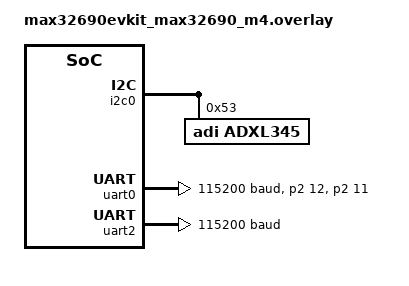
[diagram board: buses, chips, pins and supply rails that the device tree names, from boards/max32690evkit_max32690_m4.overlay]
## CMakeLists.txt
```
cmake_minimum_required(VERSION 3.20.0)

set(RENODE_SCRIPT ${CMAKE_CURRENT_LIST_DIR}/boards/stm32f746g_disco_lis2ds12.resc)

find_package(Zephyr REQUIRED HINTS $ENV{ZEPHYR_BASE})
project(app)
target_sources(app PRIVATE src/main.c)

add_subdirectory(${CMAKE_CURRENT_SOURCE_DIR}/../common/tvm ${CMAKE_CURRENT_BINARY_DIR}/tvm)
target_link_libraries(app PRIVATE tvm_model)
```

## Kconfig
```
# Copyright (c) 2025 Analog Devices, Inc.
# Copyright (c) 2025 Antmicro <www.antmicro.com>
#
# SPDX-License-Identifier: Apache-2.0

rsource "../common/tvm/Kconfig"

source "Kconfig.zephyr"
```

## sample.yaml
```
# Copyright (c) 2025 Analog Devices, Inc.
# Copyright (c) 2025 Antmicro <www.antmicro.com>
#
# SPDX-License-Identifier: Apache-2.0

sample:
  name: simple
common:
  tags: profiling
  platform_allow:
    - stm32f746g_disco
tests:
  sample.trace.demo.plaintext.robot:
    harness: robot
    harness_config:
      robot_testsuite: demo_plaintext.robot
  sample.trace.demo.ctf.robot:
    extra_configs:
      - CONFIG_ZPL_TRACE_FORMAT_CTF=y
      - CONFIG_BOOT_BANNER=n
      - CONFIG_PRINTK=n
    harness: robot
    harness_config:
      robot_testsuite: demo_ctf.robot
```

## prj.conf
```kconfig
CONFIG_ZPL=y
CONFIG_ZPL_TRACE=y
CONFIG_ZPL_TRACE_FULL_MODE=y
CONFIG_ZPL_TRACE_FORMAT_CTF=y

CONFIG_ZPL_TVM_EVENTS=y
CONFIG_ZPL_TVM_PROFILER=y

CONFIG_SYS_HEAP_ARRAY_SIZE=4
CONFIG_HEAP_MEM_POOL_SIZE=256
CONFIG_COMMON_LIBC_MALLOC=y
CONFIG_ZPL_MEMORY_PROFILING=y
CONFIG_ZPL_MEMORY_PROFILING_INTERVAL=100
CONFIG_ZPL_MEMORY_PROFILING_THREAD_PRIORITY=-1

CONFIG_CPU_LOAD=y
CONFIG_ZPL_CPU_LOAD_TRACE=y
CONFIG_ZPL_CPU_LOAD_PROFILING=y
CONFIG_ZPL_CPU_LOAD_PROFILING_INTERVAL=100
CONFIG_ZPL_CPU_LOAD_PROFILING_THREAD_PRIORITY=-1

CONFIG_TRACING_BUFFER_SIZE=4096
CONFIG_TRACING_SYNC=y
CONFIG_MAIN_STACK_SIZE=4096

CONFIG_I2C=y
CONFIG_SENSOR=y
CONFIG_I2C_STM32_INTERRUPT=n

CONFIG_TIMING_FUNCTIONS=y
CONFIG_TEST_RANDOM_GENERATOR=y
CONFIG_ZEPHYR_TVM_MODULE=y
CONFIG_ZEPHYR_DLPACK_MODULE=y
```

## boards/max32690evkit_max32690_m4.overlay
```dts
/ {
	chosen {
		zephyr,console = &uart2;
		zephyr,tracing-uart = &uart0;
	};
	aliases {
		accel = &adxl345;
	};
};

&i2c0 {
	adxl345: adxl345@53 {
		compatible = "adi,adxl345";
		reg = <0x53>;
		status = "okay";
		odr = <12>;
	};
	status = "okay";
};

&uart0 {
	status = "okay";
	pinctrl-0 = < &uart0a_tx_p2_12 &uart0a_rx_p2_11 >;
	pinctrl-names = "default";
	current-speed = < 115200 >;
	data-bits = < 0x8 >;
};

&uart2 {
	current-speed = < 115200 >;
};
```

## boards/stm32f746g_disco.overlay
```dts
/ {
	chosen {
		zephyr,console = &usart1;
		zephyr,tracing-uart = &usart6;
	};
	aliases {
		accel = &lis2ds12;
	};
};

&i2c1 {
    lis2ds12: lis2ds12@3d {
        compatible = "st,lis2ds12";
        reg = <0x3d>;
        status = "okay";
    };
    status = "okay";
};
```

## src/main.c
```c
/*
 * Copyright (c) 2025 Analog Devices, Inc.
 * Copyright (c) 2025 Antmicro <www.antmicro.com>
 *
 * SPDX-License-Identifier: Apache-2.0
 */

#include <zpl.h>

#include <math.h>
#include <zephyr/drivers/sensor.h>
#include <zephyr/kernel.h>
#include <zephyr/random/random.h>
#include <generated/model_data_graph.h>
#include <generated/model_data_params.h>
#include <tvm_model.h>

#define INPUT_SHAPE_0 128
#define INPUT_SHAPE_1 3

#define OUTPUT_SHAPE_0 1
#define OUTPUT_SHAPE_1 4

#define MOVEMENT_THRESHOLD 0.05f

K_SEM_DEFINE(run_inference, 0, 1);
K_MUTEX_DEFINE(data_buffer_mutex);
int sample_idx;
static float data_buffer[INPUT_SHAPE_0][INPUT_SHAPE_1];
const struct device *const accelerometer = DEVICE_DT_GET(DT_ALIAS(accel));

/**
 * Magic Wand dataset classes
 */
const char *class_names[OUTPUT_SHAPE_1] = {"wing", "ring", "slope", "negative"};

void read_input(float *model_input);

void read_accel_data(float *x, float *y, float *z);

void read_accel_data_fun(void);

int main(void)
{
	int status = 0;
	float __attribute((aligned(32))) model_input[INPUT_SHAPE_0][INPUT_SHAPE_1];
	float __attribute((aligned(32))) model_output[OUTPUT_SHAPE_0][OUTPUT_SHAPE_1];

	status = model_init();
	if (status) {
		printk("Model init failed %d\n", status);
		return 1;
	}

	status = model_load(model_data_graph, model_data_graph_len, model_data_params,
			    model_data_params_len, NULL, NULL, NULL);
	if (status) {
		printk("Model load failed %d\n", status);
		return 1;
	}

	for (;;) {
		if (k_sem_take(&run_inference, K_NO_WAIT) != 0) {
			k_msleep(10);
			continue;
		}

		read_input((float *)model_input);

		status = model_load_input((uint8_t *)model_input,
					  sizeof(float) * INPUT_SHAPE_0 * INPUT_SHAPE_1, NULL, false);
		if (status) {
			printk("Model load input failed %d\n", status);
			break;
		}

		status = model_run(NULL);
		if (status) {
			printk("Model run failed %d\n", status);
			break;
		}

		status = model_get_output((uint8_t *)model_output, NULL, false);
		if (status) {
			printk("Model get output failed %d\n", status);
			break;
		}
		printk("model output: ");
		for (int i = 0; i < OUTPUT_SHAPE_1; ++i) {
			int value_int = (int)(1000 * model_output[0][i]);
			printk("%s=%d.%03d ", class_names[i], value_int / 1000, value_int % 1000);
		}
		printk("\n");
	}

	return 0;
}

void read_input(float *model_input)
{
	if (k_mutex_lock(&data_buffer_mutex, K_FOREVER) == 0) {
		memcpy(model_input, &data_buffer[sample_idx][0],
		       (INPUT_SHAPE_0 - sample_idx) * sizeof(float) * INPUT_SHAPE_1);
		if (sample_idx > 0) {
			memcpy(&model_input[(INPUT_SHAPE_0 - sample_idx) * INPUT_SHAPE_1],
			       data_buffer, sample_idx * sizeof(float) * INPUT_SHAPE_1);
		}

		k_mutex_unlock(&data_buffer_mutex);
	}
}

void read_accel_data(float *x, float *y, float *z)
{
	struct sensor_value val[3];
	int32_t ret = 0;

	*x = 0.0f;
	*y = 0.0f;
	*z = 0.0f;

	do {
		if (!device_is_ready(accelerometer)) {
			printk("%s: not ready\n", accelerometer->name);
			break;
		}

		ret = sensor_sample_fetch(accelerometer);
		if (ret < 0 && ret != -EBADMSG) {
			printk("%s: failed to fetch sample\n", accelerometer->name);
			break;
		}

		ret = sensor_channel_get(accelerometer, SENSOR_CHAN_ACCEL_XYZ, val);
		if (ret < 0) {
			printk("%s: failed to read channel\n", accelerometer->name);
			break;
		}

		*x = sensor_value_to_float(&val[0]) / (2 * 9.807f);
		*y = sensor_value_to_float(&val[1]) / (2 * 9.807f);
		*z = sensor_value_to_float(&val[2]) / (2 * 9.807f);

		printk("%s: ", accelerometer->name);
		printk(
			"x=%c%d.%03d ",
			(*x > 0 ? '+' : '-'),
			abs((int)(*x)),
			abs((int)((*x) * 1000)) % 1000
		);
		printk(
			"y=%c%d.%03d ",
			(*y > 0 ? '+' : '-'),
			abs((int)(*y)),
			abs((int)((*y) * 1000)) % 1000
		);
		printk(
			"z=%c%d.%03d\n",
			(*z > 0 ? '+' : '-'),
			abs((int)(*z)),
			abs((int)((*z) * 1000)) % 1000
		);
	} while (0);
}

void read_accel_data_fun(void)
{
	float prev_x = 0.0f, prev_y = 0.0f, prev_z = 0.0f;
	float x, y, z;

	while (true) {
		read_accel_data(&x, &y, &z);

		if (k_mutex_lock(&data_buffer_mutex, K_FOREVER) == 0) {
			/* convert to mili G */
			data_buffer[sample_idx][0] = 1000.0f * x;
			data_buffer[sample_idx][1] = 1000.0f * y;
			data_buffer[sample_idx][2] = 1000.0f * z;

			k_mutex_unlock(&data_buffer_mutex);

			++sample_idx;
			sample_idx %= INPUT_SHAPE_0;
		}

		/* run inference every 16 samples if accelerometer is moving */
		if ((fabsf(prev_x - x) + fabsf(prev_y - y) + fabsf(prev_z - z) >
		     MOVEMENT_THRESHOLD) &&
		    (sample_idx % 16) == 0) {
			k_sem_give(&run_inference);
		}

		prev_x = x;
		prev_y = y;
		prev_z = z;

		k_msleep(10);
	}
}

K_THREAD_DEFINE(read_accel_data_thread, 512, read_accel_data_fun, NULL, NULL, NULL, -1, 0, 100);
```
